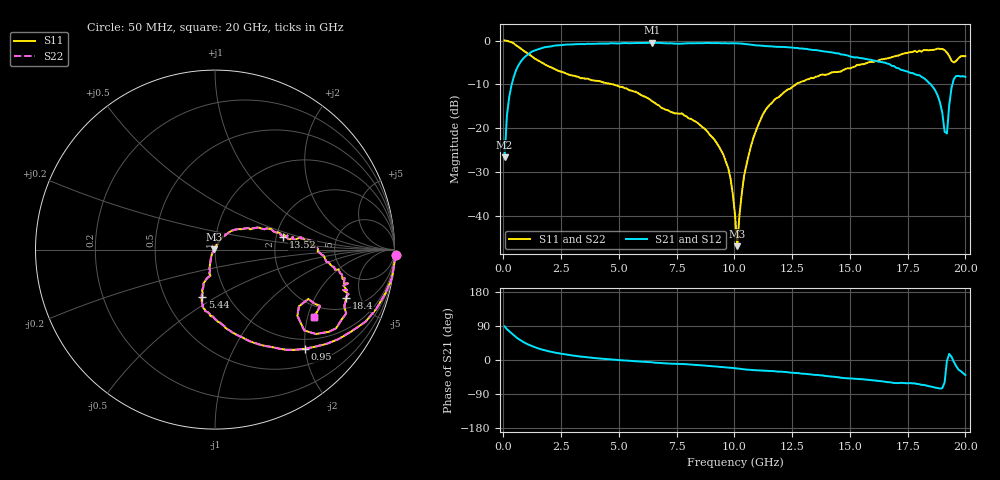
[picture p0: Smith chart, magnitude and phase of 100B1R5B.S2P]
!  American Technical Ceramics  Date:  3/13/98
!  One Norden Lane
!  Huntington Station,  NY.  11746-2102
!  Tel:  (516) 547-5700  Fax:  (516) 547-5748
!  Part Number  100b1r5b
!  Description: Porcelain, High Q, Low ESR
!  Application: Bypass, Coupling, Timing, Feedback
!  Tuning, Impedance Match, Blocking
# GHZ S DB R 50
! Freq  |S11|  S11 Ph  |S21|  S21 Ph  |S12|  S12 Ph  |S22|  S22 Ph
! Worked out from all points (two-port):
!   201 points, 50 MHz to 20 GHz, reference 50 ohm
!   highest |S21| = -0.48 dB at 6.43 GHz (marker M1); lowest = -26.7 dB at 50 MHz (marker M2)
!   |S21| within 3 dB of the highest: 976.8 MHz to 14.95 GHz (13.97 GHz wide, 175 % of centre)
!   lowest |S11| = -47.0 dB at 10.12 GHz (marker M3), VSWR 1.01, Z = 49.6 + j0.216 ohm
!   |S11| at or under -10 dB: 4.751 GHz to 12.66 GHz (7.909 GHz wide, 90.9 % of centre)
!   |S22| runs from -47.0 to 0.1 dB; largest |S21 - S12| = 0
!   S11 on the Smith chart (normalised r, x): 50 MHz: -13, -59; 950 MHz: 0.80, -1.99; 5.44 GHz: 0.76, -0.43; 13.52 GHz: 2.19, +0.37; 18.4 GHz: 2.73, -3.70; 20 GHz: 1.63, -2.19
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0.05  0.06 -1.9  -26.69 88.8  -26.69 88.8  0.06 -1.9
0.15  -0.01 -9.2  -17.14 81.2  -17.14 81.2  -0.01 -9.2
0.35  -0.38 -20.2  -10.14 70.6  -10.14 70.6  -0.38 -20.2
0.95  -2.56 -47.9  -3.59 44.6  -3.59 44.6  -2.56 -47.9
1.85  -5.60 -71.4  -1.43 24.7  -1.43 24.7  -5.60 -71.4
3.44  -8.58 -93.1  -0.76 8.5  -0.76 8.5  -8.58 -93.1
5.44  -11.31 -105.0  -0.58 -2.0  -0.58 -2.0  -11.31 -105.0
6.43  -13.83 -108.4  -0.48 -6.0  -0.48 -6.0  -13.83 -108.4
6.73  -14.80 -107.3  -0.49 -7.9  -0.49 -7.9  -14.80 -107.3
9.13  -22.59 -110.0  -0.54 -16.8  -0.54 -16.8  -22.59 -110.0
9.73  -29.10 -122.6  -0.62 -20.0  -0.62 -20.0  -29.10 -122.6
10.03  -40.02 -150.0  -0.60 -21.8  -0.60 -21.8  -40.02 -150.0
10.12  -46.99 150.8  -0.59 -22.4  -0.59 -22.4  -46.99 150.8
10.42  -30.88 69.7  -0.73 -24.4  -0.73 -24.4  -30.88 69.7
11.22  -16.99 48.3  -1.14 -27.9  -1.14 -27.9  -16.99 48.3
13.42  -8.55 12.8  -2.14 -39.0  -2.14 -39.0  -8.55 12.8
13.52  -8.23 10.6  -2.13 -39.5  -2.13 -39.5  -8.23 10.6
16.71  -3.94 -6.3  -5.33 -58.5  -5.33 -58.5  -3.94 -6.3
18.4  -2.19 -20.2  -9.51 -68.9  -9.51 -68.9  -2.19 -20.2
19.2  -2.71 -40.0  -21.23 -2.7  -21.23 -2.7  -2.71 -40.0
19.5  -4.97 -34.0  -8.77 -5.0  -8.77 -5.0  -4.97 -34.0
20  -3.53 -34.1  -8.28 -39.8  -8.28 -39.8  -3.53 -34.1
